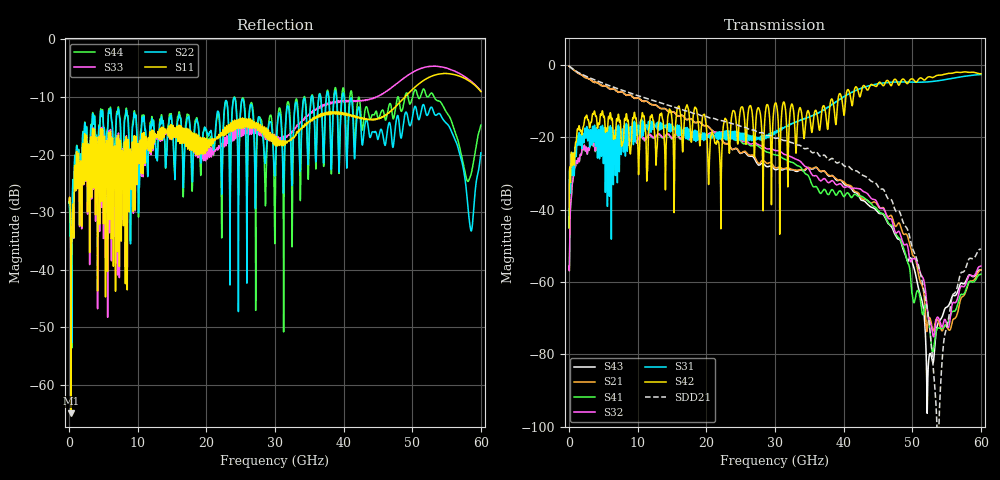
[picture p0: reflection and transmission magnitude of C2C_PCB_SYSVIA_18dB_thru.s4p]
!$Gore$
!C2C PCB Topology at Nominal
!Tuned Ballou BGA and Tuned Mayfield BOR
!Created with Channel Assembly Tool v1.0.4
# Hz S RI R 50
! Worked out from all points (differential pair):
!   6000 points, 10 MHz to 60 GHz, reference 50 ohm
!   strongest paths, dB at 10 MHz, 15.01 GHz, 30.01 GHz, 45.01 GHz, 60 GHz:
!     S42: -45.1, -15.4, -10.7, -5.2, -2.4
!     S31: -45.1, -18.3, -18.4, -5.2, -2.7
!     S32: -55.6, -20.2, -23.6, -38.6, -55.6
!     S41: -55.6, -20.4, -24.9, -40.2, -57.8
!     S21: -0.3, -13.0, -28.4, -39.0, -56.6
!     S43: -0.3, -13.0, -28.9, -40.7, -56.7
!   taken as a pair (ports 1,3 in; 2,4 out), SDD21 dB: -0.3, -11.4, -20.2, -33.6, -50.8
!   lowest |S11| = -64.9 dB at 300 MHz (marker M1), VSWR 1.00, Z = 50 + j0.0359 ohm
!   |S11| at or under -10 dB: start of sweep to 48.95 GHz
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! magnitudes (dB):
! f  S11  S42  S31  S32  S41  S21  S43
! 10 MHz  -28.4  -45.1  -45.1  -55.6  -55.6  -0.3  -0.3
! 300 MHz  -64.9  -25.1  -25.5  -37.4  -37.4  -0.8  -0.8
! 4.68 GHz  -19.5  -13.9  -21.6  -21.8  -22.0  -5.6  -5.6
! 22.34 GHz  -16.3  -20.8  -19.9  -18.5  -18.7  -21.0  -21.0
! 45.78 GHz  -13.4  -5.8  -5.0  -39.7  -41.2  -39.5  -41.4
! 52.32 GHz  -6.7  -3.3  -4.7  -69.7  -69.1  -70.9  -83.9
! 60 GHz  -9.1  -2.4  -2.7  -55.6  -57.8  -56.6  -56.7
